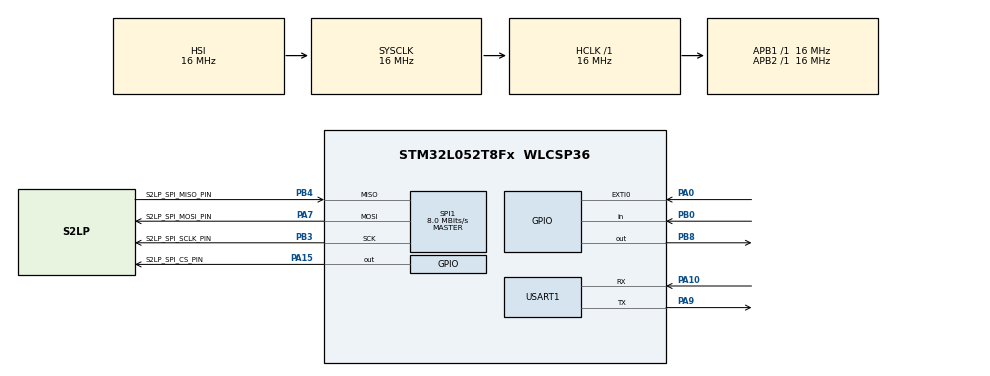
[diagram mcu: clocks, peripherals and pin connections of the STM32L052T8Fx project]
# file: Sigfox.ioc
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Dma.Request0=SPI1_TX
Dma.Request1=SPI1_RX
Dma.Request2=USART1_RX
Dma.Request3=USART1_TX
Dma.SPI1_RX.1.Direction=DMA_PERIPH_TO_MEMORY
Dma.SPI1_RX.1.Instance=DMA1_Channel2
Dma.SPI1_RX.1.MemDataAlignment=DMA_MDATAALIGN_BYTE
Dma.SPI1_RX.1.MemInc=DMA_MINC_ENABLE
Dma.SPI1_RX.1.Mode=DMA_NORMAL
Dma.SPI1_RX.1.PeriphDataAlignment=DMA_PDATAALIGN_BYTE
Dma.SPI1_RX.1.PeriphInc=DMA_PINC_DISABLE
Dma.SPI1_RX.1.Priority=DMA_PRIORITY_HIGH
Dma.SPI1_TX.0.Direction=DMA_MEMORY_TO_PERIPH
Dma.SPI1_TX.0.Instance=DMA1_Channel3
Dma.SPI1_TX.0.MemDataAlignment=DMA_MDATAALIGN_BYTE
Dma.SPI1_TX.0.MemInc=DMA_MINC_ENABLE
Dma.SPI1_TX.0.Mode=DMA_NORMAL
Dma.SPI1_TX.0.PeriphDataAlignment=DMA_PDATAALIGN_BYTE
Dma.SPI1_TX.0.PeriphInc=DMA_PINC_DISABLE
Dma.SPI1_TX.0.Priority=DMA_PRIORITY_HIGH
Dma.USART1_RX.2.Direction=DMA_PERIPH_TO_MEMORY
Dma.USART1_RX.2.Instance=DMA1_Channel5
Dma.USART1_RX.2.MemDataAlignment=DMA_MDATAALIGN_BYTE
Dma.USART1_RX.2.MemInc=DMA_MINC_ENABLE
Dma.USART1_RX.2.Mode=DMA_CIRCULAR
Dma.USART1_RX.2.PeriphDataAlignment=DMA_PDATAALIGN_BYTE
Dma.USART1_RX.2.PeriphInc=DMA_PINC_DISABLE
Dma.USART1_RX.2.Priority=DMA_PRIORITY_LOW
Dma.USART1_TX.3.Direction=DMA_MEMORY_TO_PERIPH
Dma.USART1_TX.3.Instance=DMA1_Channel4
Dma.USART1_TX.3.MemDataAlignment=DMA_MDATAALIGN_BYTE
Dma.USART1_TX.3.MemInc=DMA_MINC_ENABLE
Dma.USART1_TX.3.Mode=DMA_NORMAL
Dma.USART1_TX.3.PeriphDataAlignment=DMA_PDATAALIGN_BYTE
Dma.USART1_TX.3.PeriphInc=DMA_PINC_DISABLE
Dma.USART1_TX.3.Priority=DMA_PRIORITY_HIGH
Mcu.Family=STM32L0
Mcu.Name=STM32L052T8Fx
Mcu.Package=WLCSP36
NVIC.DMA1_Channel2_3_IRQn=true\:1\:0\:true\:false\:true\:false\:true
NVIC.DMA1_Channel4_5_6_7_IRQn=true\:0\:0\:false\:false\:true\:false\:true
NVIC.EXTI0_1_IRQn=true\:0\:0\:true\:false\:true\:true\:true
NVIC.RTC_IRQn=true\:1\:0\:true\:false\:true\:true\:true
NVIC.TIM6_DAC_IRQn=true\:1\:0\:true\:false\:true\:true\:true
PA0.GPIO_ModeDefaultEXTI=GPIO_MODE_IT_FALLING
PA0.Signal=GPXTI0
PA10.GPIO_Speed=GPIO_SPEED_FREQ_HIGH
PA10.Mode=Asynchronous
PA10.Signal=USART1_RX
PA13.Mode=Serial_Wire
PA13.Signal=SYS_SWDIO
PA14.Mode=Serial_Wire
PA14.Signal=SYS_SWCLK
PA15.GPIO_Label=S2LP_SPI_CS_PIN
PA15.GPIO_PuPd=GPIO_PULLUP
PA15.GPIO_Speed=GPIO_SPEED_FREQ_HIGH
PA15.PinState=GPIO_PIN_SET
PA15.Signal=GPIO_Output
PA7.GPIO_Label=S2LP_SPI_MOSI_PIN
PA7.GPIO_PuPd=GPIO_PULLUP
PA7.GPIO_Speed=GPIO_SPEED_FREQ_HIGH
PA7.Mode=Full_Duplex_Master
PA7.Signal=SPI1_MOSI
PA9.Mode=Asynchronous
PA9.Signal=USART1_TX
PB0.GPIO_PuPd=GPIO_PULLUP
PB0.Signal=GPIO_Input
PB3.GPIO_Label=S2LP_SPI_SCLK_PIN
PB3.GPIO_PuPd=GPIO_PULLUP
PB3.GPIO_Speed=GPIO_SPEED_FREQ_HIGH
PB3.Mode=Full_Duplex_Master
PB3.Signal=SPI1_SCK
PB4.GPIO_Label=S2LP_SPI_MISO_PIN
PB4.GPIO_PuPd=GPIO_PULLUP
PB4.GPIO_Speed=GPIO_SPEED_FREQ_HIGH
PB4.Mode=Full_Duplex_Master
PB4.Signal=SPI1_MISO
PB8.GPIO_FM8=__NULL
PB8.GPIO_Speed=GPIO_SPEED_FREQ_HIGH
PB8.Signal=GPIO_Output
ProjectManager.HeapSize=0x200
ProjectManager.StackSize=0x400
ProjectManager.TargetToolchain=MDK-ARM V5
RCC.AHBFreq_Value=16000000
RCC.APB1Freq_Value=16000000
RCC.APB1TimFreq_Value=16000000
RCC.APB2Freq_Value=16000000
RCC.APB2TimFreq_Value=16000000
RCC.HCLKFreq_Value=16000000
RCC.HSI16_VALUE=16000000
RCC.HSI48_VALUE=48000000
RCC.HSI_VALUE=16000000
RCC.LSE_VALUE=32768
RCC.MSI_VALUE=2097000
RCC.PLLDIV=RCC_PLLDIV_4
RCC.PLLMUL=RCC_PLLMUL_4
RCC.SYSCLKFreq_VALUE=16000000
RCC.SYSCLKSource=RCC_SYSCLKSOURCE_HSI
RCC.VCOOutputFreq_Value=64000000
RTC.AsynchPrediv=127
RTC.SynchPrediv=255
RTC.WakeUpCounter=1000
SPI1.BaudRatePrescaler=SPI_BAUDRATEPRESCALER_2
SPI1.CalculateBaudRate=8.0 MBits/s
SPI1.Direction=SPI_DIRECTION_2LINES
SPI1.Mode=SPI_MODE_MASTER
SPI1.VirtualNSS=VM_NSSHARD
SPI1.VirtualType=VM_MASTER
TIM6.Period=1000-1
TIM6.Prescaler=64-1
USART1.VirtualMode-Asynchronous=VM_ASYNC
VP_RTC_VS_RTC_Activate.Mode=RTC_Enabled
VP_RTC_VS_RTC_Calendar.Mode=RTC_Calendar
VP_RTC_VS_RTC_WakeUp_intern.Mode=WakeUp
VP_TIM6_VS_ClockSourceINT.Mode=Enable_Timer
board=custom

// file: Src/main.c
/* USER CODE BEGIN Header */
/**
  ******************************************************************************
  * @file           : main.c
  * @brief          : Main program body
  ******************************************************************************
  * @attention
  *
  * <h2><center>&copy; Copyright (c) 2019 STMicroelectronics.
  * All rights reserved.</center></h2>
  *
  * This software component is licensed by ST under BSD 3-Clause license,
  * the "License"; You may not use this file except in compliance with the
  * License. You may obtain a copy of the License at:
  *                        opensource.org/licenses/BSD-3-Clause
  *
  ******************************************************************************
  */
/* USER CODE END Header */

#include "main.h"
#include "dma.h"
#include "rtc.h"
#include "spi.h"
#include "tim.h"
#include "usart.h"
#include "gpio.h"

/* USER CODE BEGIN PD */

#ifdef DOWNLINK_FLAG
	static uint8_t downlink_request = 1;
#else
	static uint8_t downlink_request = 0;
#endif
/* USER CODE END PD */

/* USER CODE BEGIN PV */
TIM_HandleTypeDef  Tim6_Handler={.Instance=TIM6};
/* USER CODE END PV */

void SystemClock_Config(void);
/* USER CODE BEGIN PFP */
void ST_Init(void);
/* USER CODE END PFP */

int main(void)
{

  /* MCU Configuration--------------------------------------------------------*/

  /* Reset of all peripherals, Initializes the Flash interface and the Systick. */
  HAL_Init();

  /* Configure the system clock */
  SystemClock_Config();

  /* Initialize all configured peripherals */
  MX_GPIO_Init();
  MX_DMA_Init();
  MX_SPI1_Init();
  MX_TIM6_Init();
  MX_RTC_Init();
  MX_USART1_UART_Init();
  /* USER CODE BEGIN 2 */

	mcuConfig();

	/********** OPEN AND CONFIFIGURES SIGFOX LIBRARY IN RCZ2 *********************/
	/********** IN ORDER TO OPEN OTHER RCZS, SEE SIGFOX_API.h **/
	/********** BASICALLY CHANGES TO OTHER RC VALUE LIKE RCZ3 **/
	configRegion(RCZ6);

  /* USER CODE END 2 */

  /* Infinite loop */
  while (1)
  {

    /* USER CODE BEGIN 3 */
		if(button_pressed()) {
			printf("Sending frame...\n");
			sendFrame();
			HAL_Delay(500);
		}

  }
  /* USER CODE END 3 */
}

void SystemClock_Config(void)
{
  RCC_OscInitTypeDef RCC_OscInitStruct = {0};
  RCC_ClkInitTypeDef RCC_ClkInitStruct = {0};
  RCC_PeriphCLKInitTypeDef PeriphClkInit = {0};

  /** Configure the main internal regulator output voltage
  */
  __HAL_PWR_VOLTAGESCALING_CONFIG(PWR_REGULATOR_VOLTAGE_SCALE1);
  /** Initializes the CPU, AHB and APB busses clocks
  */
  RCC_OscInitStruct.OscillatorType = RCC_OSCILLATORTYPE_HSI|RCC_OSCILLATORTYPE_LSI;
  RCC_OscInitStruct.HSIState = RCC_HSI_ON;
  RCC_OscInitStruct.HSICalibrationValue = RCC_HSICALIBRATION_DEFAULT;
  RCC_OscInitStruct.LSIState = RCC_LSI_ON;
  RCC_OscInitStruct.PLL.PLLState = RCC_PLL_NONE;
  if (HAL_RCC_OscConfig(&RCC_OscInitStruct) != HAL_OK)
  {
    Error_Handler();
  }
  /** Initializes the CPU, AHB and APB busses clocks
  */
  RCC_ClkInitStruct.ClockType = RCC_CLOCKTYPE_HCLK|RCC_CLOCKTYPE_SYSCLK
                              |RCC_CLOCKTYPE_PCLK1|RCC_CLOCKTYPE_PCLK2;
  RCC_ClkInitStruct.SYSCLKSource = RCC_SYSCLKSOURCE_HSI;
  RCC_ClkInitStruct.AHBCLKDivider = RCC_SYSCLK_DIV1;
  RCC_ClkInitStruct.APB1CLKDivider = RCC_HCLK_DIV1;
  RCC_ClkInitStruct.APB2CLKDivider = RCC_HCLK_DIV1;

  if (HAL_RCC_ClockConfig(&RCC_ClkInitStruct, FLASH_LATENCY_0) != HAL_OK)
  {
    Error_Handler();
  }
  PeriphClkInit.PeriphClockSelection = RCC_PERIPHCLK_USART1|RCC_PERIPHCLK_RTC;
  PeriphClkInit.Usart1ClockSelection = RCC_USART1CLKSOURCE_PCLK2;
  PeriphClkInit.RTCClockSelection = RCC_RTCCLKSOURCE_LSI;
  if (HAL_RCCEx_PeriphCLKConfig(&PeriphClkInit) != HAL_OK)
  {
    Error_Handler();
  }
}

/* USER CODE BEGIN 4 */

void configRegion(rc_mask RCZ) {
	ST_SFX_ERR open_err = ST_SFX_ERR_NONE;

	switch(RCZ){
		case RCZ1:
			ST_RF_API_reduce_output_power(RCZ1_OUTPUT_POWER);
			open_err = St_Sigfox_Open_RCZ(RCZ1);

			if(open_err != 0)
				printf("Open rcz error: %X\n", open_err);

			break;
		case RCZ2:
			ST_RF_API_reduce_output_power(RCZ2_OUTPUT_POWER);
			open_err = St_Sigfox_Open_RCZ(RCZ2);

			if(open_err != 0)
				printf("Open rcz error: %X\n", open_err);

			break;
		case RCZ3:
			open_err = St_Sigfox_Open_RCZ(RCZ3);
			ST_RF_API_reduce_output_power(RCZ3_OUTPUT_POWER);
			if(open_err != 0)
				printf("Open rcz error: %X\n", open_err);

			break;
		case RCZ4:
			open_err = St_Sigfox_Open_RCZ(RCZ4);
			ST_RF_API_reduce_output_power(RCZ4_OUTPUT_POWER);
			if(open_err != 0)
				printf("Open rcz error: %X\n", open_err);

			break;
		case RCZ5:
			open_err = St_Sigfox_Open_RCZ(RCZ5);
			ST_RF_API_reduce_output_power(RCZ5_OUTPUT_POWER);
			if(open_err != 0)
				printf("Open rcz error: %X\n", open_err);

			break;
		case RCZ6:
			open_err = St_Sigfox_Open_RCZ(RCZ6);
			ST_RF_API_reduce_output_power(RCZ6_OUTPUT_POWER);
			if(open_err != 0)
				printf("Open rcz error: %X\n", open_err);

			break;
		default:
			break;
	}

}

sfx_error_t sendFrame(void) {

	/********** SEND MESSAGE TO RCZ2 ****************************/

	uint8_t customer_data[12]={0xAA, 0xAA, 0xAA, 0xAA, 0xBA, 0xBA, 0xBA, 0xBA, 0xBA, 0xBA, 0xBA, 0xBA};
	uint8_t customer_resp[8];
	sfx_error_t err;

	/********** FUNCTION PARAMETERS  ****************************/
	/********** THE LAST ONE IS TO REQUEST DOWNLINK ************/
	/********** 1 - YES, 0 - NO	 ******************************/

  err=SIGFOX_API_send_frame(customer_data,sizeof(customer_data),customer_resp, 3, downlink_request);

	if(downlink_request) {
		printf("Constumer resp: {");

		for(uint16_t i = 0; i < 7; i++)
			printf("0x%x,", customer_resp[i]);

		printf("0x%x}\n\r", customer_resp[7]);
	}

	printf("\nError Send Frame: %X\n", err);

	return err;
}

void mcuConfig(void) {
	ST_SFX_ERR stSfxRetErr;

	ST_Init();

	NVM_BoardDataType sfxConfiguration;
  stSfxRetErr = ST_Sigfox_Init(&sfxConfiguration, 0);

	if(stSfxRetErr != ST_SFX_ERR_NONE)
  {
    /* If an error occured reading Sigfox credentials (for example the board has never been registered)
     * automatically set the test mode credentials. */
    if(stSfxRetErr == ST_SFX_ERR_CREDENTIALS)
    {
			sfxConfiguration.id = 0;
			memset(sfxConfiguration.pac, 0x00, 8);
			sfxConfiguration.rcz = 0;

		} else {
				printf("Error!\n");
			}
	}

	  /* Calibrate RTC in case of STM32*/
#if  !(defined(BLUENRG2_DEVICE) || defined(BLUENRG1_DEVICE))
  /* The low level driver uses the internal RTC as a timer while the STM32 is in low power.
  This function calibrates the RTC using an auxiliary general purpose timer in order to
  increase its precision. */
  ST_MCU_API_TimerCalibration(500);
#endif

	printf("Sigfox iMCP HT32SX \n");
  printf("ID: %.8X - PAC: ", sfxConfiguration.id);

	for(uint16_t i = 0; i < sizeof(sfxConfiguration.pac); i++)
  {
		printf("%.2X", sfxConfiguration.pac[i]);
	}
	printf("\n");

	/*			SET S2LP XTAL FREQUENCY														*/
	/*			DO NOT CHANGE IT																	*/

	ST_RF_API_set_xtal_freq(50000000);

	/*			SET A PROPER FREQUENCY OFFSET											*/
	/*			THIS VALUE CAN BE FOUND IN CREDENTIALS 						*/

  ST_RF_API_set_freq_offset(sfxConfiguration.freqOffset);
	printf("Freq Offset %d \n", sfxConfiguration.freqOffset);

	/*			SET LBT OFFSET																		*/
	/*			THIS VALUE CAN BE FOUND IN CREDENTIALS 						*/

	ST_RF_API_set_lbt_thr_offset(sfxConfiguration.lbtOffset);
	printf("LBT %d \n", sfxConfiguration.lbtOffset);

	/*			SET RSSI OFFSET																		*/
	/*			THIS VALUE CAN BE FOUND IN CREDENTIALS 						*/

	ST_RF_API_set_rssi_offset(sfxConfiguration.rssiOffset);
	printf("RSSI %d \n", sfxConfiguration.rssiOffset);
}

void ST_Init(void)
{
  /* Put the radio off */
  S2LPShutdownInit();
	HAL_Delay(10);
  S2LPShutdownExit();

  /* Init TIM6 which will trigger TX */
  SdkEvalTimersState(&Tim6_Handler, ENABLE);

  /* Auto detect settings, if EEPROM is available */
#if EEPROM_PRESENT == EEPROM_YES
  /* Identify the S2-LP RF board reading some production data */
  S2LPManagementIdentificationRFBoard();
#elif EEPROM_PRESENT==EEPROM_NO
  /* Set XTAL frequency with offset */
  S2LPRadioSetXtalFrequency(XTAL_FREQUENCY+XTAL_FREQUENCY_OFFSET);

  /* Set the frequency base */
  S2LPManagementSetBand(BOARD_FREQUENCY_BAND);

  /* Configure PA availability */
#if S2LP_FEM_PRESENT == S2LP_FEM_NO
  S2LPManagementSetRangeExtender(0);
#else
  S2LPManagementSetRangeExtender(1);
#endif
#endif

  /* uC IRQ config and enable */

	S2LPIRQInit();
  S2LPIRQEnable(ENABLE, M2S_GPIO_EDGE_EVENT);

    /* FEM Initialization */
  FEM_Init();

    /* TCXO Initialization */
  //TCXO_Init();

}

/* USER CODE END 4 */

void Error_Handler(void)
{
}

/************************ (C) COPYRIGHT STMicroelectronics *****END OF FILE****/
